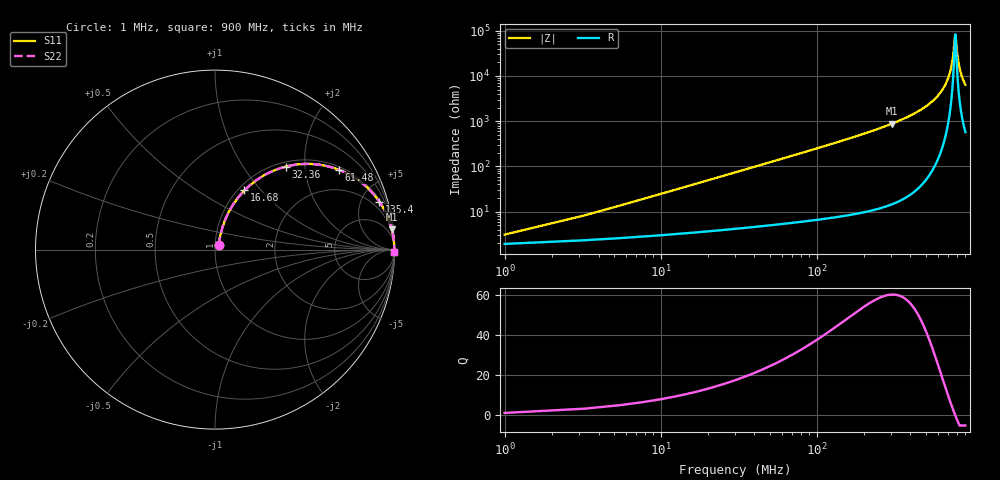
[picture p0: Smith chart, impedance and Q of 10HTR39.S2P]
! Coilcraft 1008HT-R39 Chip Inductor
! 16 July 2002
# MHZ S MA R 50
!Freq  MagS11  AngS11  MagS21  AngS21  MagS12  AngS12  MagS22  AngS22
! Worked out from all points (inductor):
!   403 points, 1 MHz to 900 MHz, reference 50 ohm
!   read as one part in series: L = 390 nH near 5.48 MHz
!   highest Q = 60.4 at 303.4 MHz (marker M1), where L = 460 nH
!   self-resonance near 773.8 MHz
!   S11 on the Smith chart (normalised r, x): 1 MHz: 1.04, +0.05; 16.68 MHz: 1.07, +0.82; 32.36 MHz: 1.09, +1.59; 61.48 MHz: 1.11, +3.03; 135.4 MHz: 1.15, +6.84; 900 MHz: open
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1  0.0307 50.1  0.9806 -1.4  0.9806 -1.4  0.0307 50.1
7.72  0.183 71.1  0.9564 -10.4  0.9564 -10.4  0.183 71.1
12.2  0.2799 67.7  0.9308 -16.2  0.9308 -16.2  0.2799 67.7
16.68  0.3688 63.6  0.8987 -21.6  0.8987 -21.6  0.3688 63.6
32.36  0.6068 49.6  0.7628 -37.3  0.7628 -37.3  0.6068 49.6
61.48  0.8216 32.8  0.5416 -55.2  0.5416 -55.2  0.8216 32.8
92.84  0.9085 23.2  0.3935 -65.3  0.3935 -65.3  0.9085 23.2
135.4  0.9542 16.2  0.2787 -72.5  0.2787 -72.5  0.9542 16.2
151.08  0.9629 14.5  0.2502 -74.3  0.2502 -74.3  0.9629 14.5
301.16  0.9916 6.6  0.1141 -82.5  0.1141 -82.5  0.9916 6.6
303.4  0.9917 6.5  0.113 -82.6  0.113 -82.6  0.9917 6.5
451.24  0.997 3.4  0.05964 -85.4  0.05964 -85.4  0.997 3.4
601.32  0.9986 1.5  0.02704 -86.2  0.02704 -86.2  0.9986 1.5
697.64  0.9988 0.6  0.0112 -83.6  0.0112 -83.6  0.9988 0.6
729  0.9988 0.4  0.006612 -79.6  0.006612 -79.6  0.9988 0.4
751.4  0.9988 0.2  0.00353 -70.3  0.00353 -70.3  0.9988 0.2
769.32  0.9988 0.0  0.001474 -35.1  0.001474 -35.1  0.9988 0.0
776.04  0.9988 -0.0  0.001216 3.0  0.001216 3.0  0.9988 -0.0
800.68  0.9987 -0.2  0.003575 69.3  0.003575 69.3  0.9987 -0.2
823.08  0.9987 -0.4  0.006381 78.0  0.006381 78.0  0.9987 -0.4
856.68  0.9986 -0.6  0.01055 82.1  0.01055 82.1  0.9986 -0.6
900  0.9984 -0.9  0.01575 83.9  0.01575 83.9  0.9984 -0.9
